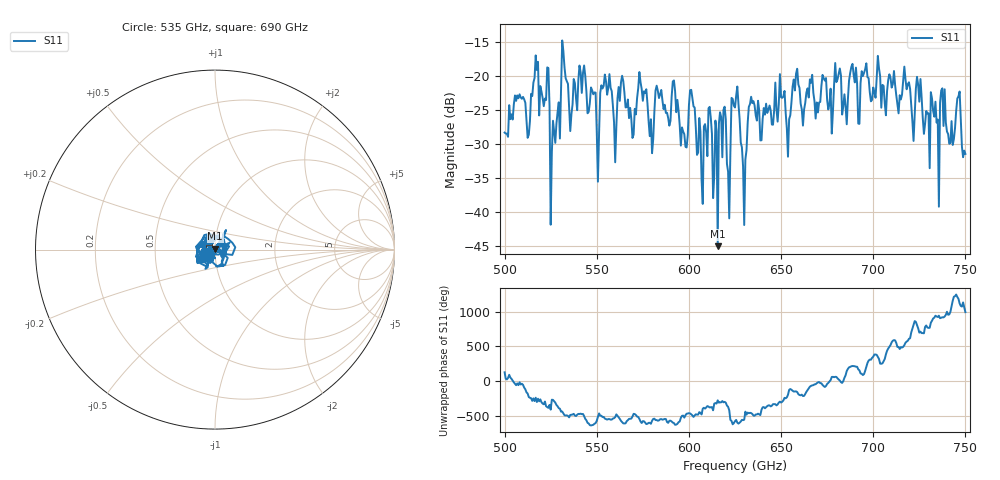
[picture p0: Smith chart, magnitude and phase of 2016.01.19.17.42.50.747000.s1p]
!Created with skrf (http://scikit-rf.org).
# GHz S RI R 50.0
!freq ReS11 ImS11
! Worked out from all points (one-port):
!   401 points, 500 GHz to 750 GHz, reference 50 ohm
!   lowest |S11| = -45.1 dB at 615.6 GHz (marker M1), VSWR 1.01, Z = 50.1 + j0.551 ohm
!   |S11| at or under -10 dB: start of sweep to end of sweep
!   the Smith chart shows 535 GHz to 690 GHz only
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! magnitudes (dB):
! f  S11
! 500 GHz  -28.3
! 513.1 GHz  -28.6
! 516.9 GHz  -16.9
! 523.1 GHz  -18.7
! 526.2 GHz  -26.6
! 531.2 GHz  -14.7
! 541.9 GHz  -22.5
! 550 GHz  -28.3
! 553.8 GHz  -21.4
! 560 GHz  -32.7
! 562.5 GHz  -23.6
! 568.8 GHz  -26.3
! 574.4 GHz  -21.9
! 579.4 GHz  -26.4
! 583.1 GHz  -22.2
! 593.8 GHz  -23.5
! 615.6 GHz  -45.1
! 618.8 GHz  -25.0
! 621.2 GHz  -34.1
! 625 GHz  -24.6
! 630 GHz  -42.0
! 633.8 GHz  -23.0
! 656.2 GHz  -21.5
! 687.5 GHz  -19.5
! 718.8 GHz  -21.2
! 734.4 GHz  -26.9
! 746.2 GHz  -23.0
! 750 GHz  -31.5
